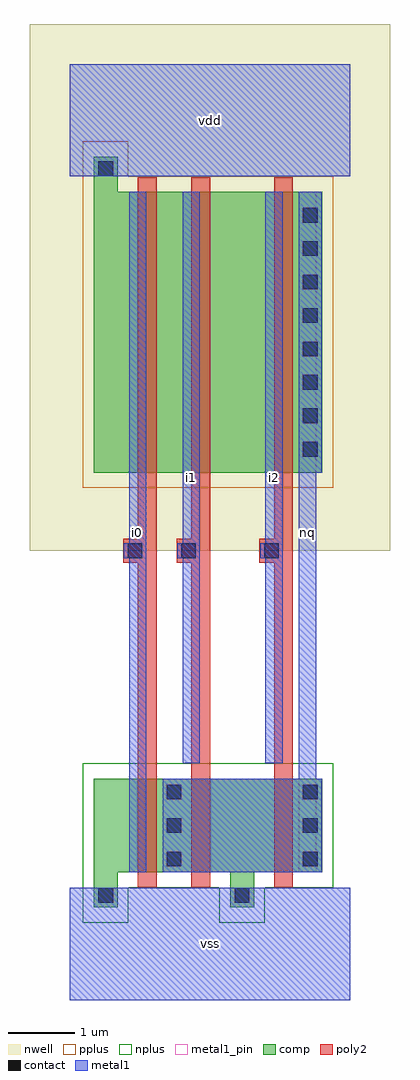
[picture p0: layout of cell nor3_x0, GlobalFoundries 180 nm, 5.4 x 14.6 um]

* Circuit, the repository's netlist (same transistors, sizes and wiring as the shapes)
* nor3_x0
.subckt nor3_x0 vdd vss nq i0 i1 i2
Mn0 vss i0 nq vss nfet_03v3 l=0.28um w=1.4um
Mp0 vdd i0 int0 vdd pfet_03v3 l=0.28um w=4.2um
Mn1 nq i1 vss vss nfet_03v3 l=0.28um w=1.4um
Mp1 int0 i1 int1 vdd pfet_03v3 l=0.28um w=4.2um
Mn2 vss i2 nq vss nfet_03v3 l=0.28um w=1.4um
Mp2 int1 i2 nq vdd pfet_03v3 l=0.28um w=4.2um
.ends nor3_x0

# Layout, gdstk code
import gdstk
lib = gdstk.Library(unit=1e-6, precision=1e-09)
def R(c, l, rs):  # rectangles x0, y0, x1, y1
    for r in rs: c.add(gdstk.rectangle(r[:2], r[2:], *l))
def A(c, l, x, y, w, h, nx, ny, dx, dy):  # array of equal rectangles
    R(c, l, [(x+i*dx, y+j*dy, x+i*dx+w, y+j*dy+h) for i in range(nx) for j in range(ny)])
def P(c, l, *ps):  # polygons
    for p in ps: c.add(gdstk.Polygon(p, *l))
nwell = (21, 0)
comp = (22, 0)
poly2 = (30, 0)
pplus = (31, 0)
nplus = (32, 0)
contact = (33, 0)
metal1 = (34, 0)
metal1_pin = (34, 10)

nor3_x0 = lib.new_cell('nor3_x0')
R(nor3_x0, nwell, [(-0.6,6.72,4.8,14.6)])
P(nor3_x0, comp, [(0.36,1.385),(0.36,3.31),(3.78,3.31),(3.78,1.91),(2.76,1.91),(2.76,1.385),(2.4,1.385),(2.4,1.91),(0.72,1.91),(0.72,1.385)],
  [(0.36,7.89),(0.36,12.615),(0.72,12.615),(0.72,12.09),(3.78,12.09),(3.78,7.89)])
P(nor3_x0, poly2, [(1.02,1.69),(1.02,6.54),(0.8,6.54),(0.8,6.9),(1.02,6.9),(1.02,12.31),(1.3,12.31),(1.3,1.69)],
  [(1.82,1.69),(1.82,6.54),(1.6,6.54),(1.6,6.9),(1.82,6.9),(1.82,12.31),(2.1,12.31),(2.1,1.69)],
  [(3.06,1.69),(3.06,6.54),(2.84,6.54),(2.84,6.9),(3.06,6.9),(3.06,12.31),(3.34,12.31),(3.34,1.69)])
P(nor3_x0, pplus, [(0.2,7.66),(0.2,12.845),(0.88,12.845),(0.88,12.32),(3.94,12.32),(3.94,7.66)])
P(nor3_x0, nplus, [(0.2,1.155),(0.2,3.54),(3.94,3.54),(3.94,1.68),(2.92,1.68),(2.92,1.155),(2.24,1.155),(2.24,1.68),(0.88,1.68),(0.88,1.155)])
A(nor3_x0, contact, 1.45, 2, 0.22, 0.22, 1, 3, 0, 0.5)
A(nor3_x0, contact, 3.49, 2, 0.22, 0.22, 1, 3, 0, 0.5)
A(nor3_x0, contact, 3.49, 8.13, 0.22, 0.22, 1, 8, 0, 0.5)
R(nor3_x0, contact, [(0.43,1.455,0.65,1.675), (2.47,1.455,2.69,1.675), (0.87,6.61,1.09,6.83), (1.67,6.61,1.89,6.83), (2.91,6.61,3.13,6.83), (0.43,12.325,0.65,12.545)])
R(nor3_x0, metal1, [(0,0,4.2,1.68), (0,12.32,4.2,14)])
P(nor3_x0, metal1, [(1.39,1.91),(1.39,3.31),(3.43,3.31),(3.43,12.09),(3.77,12.09),(3.77,7.89),(3.69,7.89),(3.69,3.31),(3.77,3.31),(3.77,1.91)],
  [(0.89,1.91),(0.89,6.605),(0.81,6.605),(0.81,6.835),(0.89,6.835),(0.89,12.09),(1.15,12.09),(1.15,1.91)],
  [(1.69,3.54),(1.69,6.605),(1.61,6.605),(1.61,6.835),(1.69,6.835),(1.69,12.09),(1.95,12.09),(1.95,3.54)],
  [(2.93,3.54),(2.93,6.605),(2.85,6.605),(2.85,6.835),(2.93,6.835),(2.93,12.09),(3.19,12.09),(3.19,3.54)])
R(nor3_x0, metal1_pin, [(0,0,4.2,1.68), (0.89,1.91,1.15,12.09), (3.43,1.91,3.69,12.09), (1.69,3.54,1.95,12.09), (2.93,3.54,3.19,12.09), (0,12.32,4.2,14)])
nor3_x0.add(gdstk.Label('vss', (2.1,0.84), layer=34, texttype=10))
nor3_x0.add(gdstk.Label('vdd', (2.1,13.16), layer=34, texttype=10))
nor3_x0.add(gdstk.Label('nq', (3.56,7), layer=34, texttype=10))
nor3_x0.add(gdstk.Label('i0', (1.02,7), layer=34, texttype=10))
nor3_x0.add(gdstk.Label('i1', (1.82,7.815), layer=34, texttype=10))
nor3_x0.add(gdstk.Label('i2', (3.06,7.815), layer=34, texttype=10))

lib.write_gds('nor3_x0.gds')
